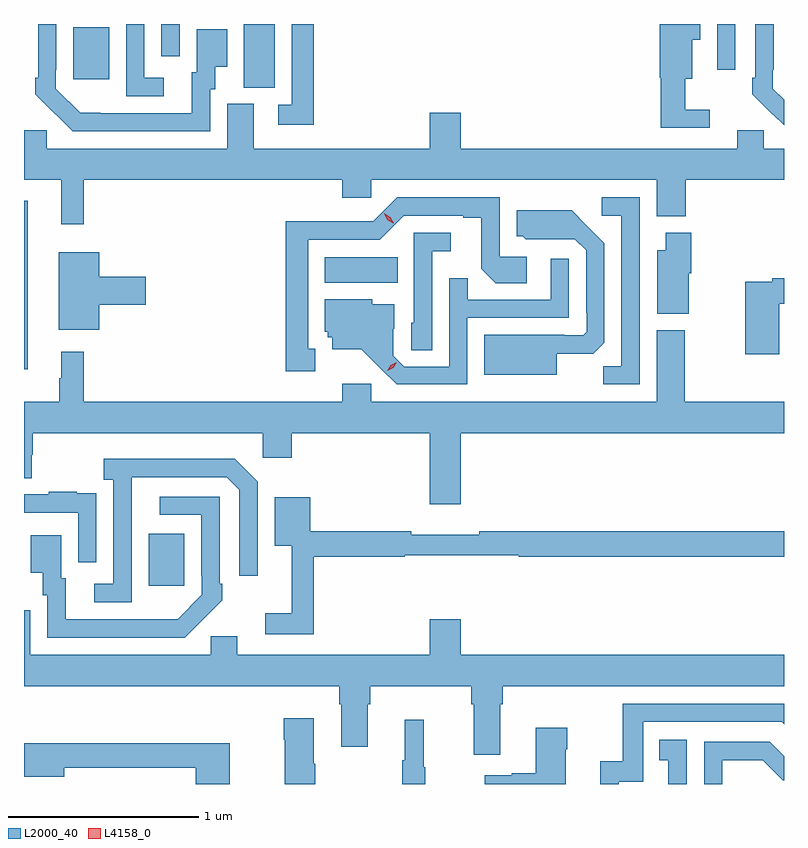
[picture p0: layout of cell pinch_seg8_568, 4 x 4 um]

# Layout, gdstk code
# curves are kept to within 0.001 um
import gdstk
lib = gdstk.Library(unit=1e-6, precision=1e-09)
def R(c, l, rs):  # rectangles x0, y0, x1, y1
    for r in rs: c.add(gdstk.rectangle(r[:2], r[2:], *l))
def P(c, l, *ps):  # polygons
    for p in ps: c.add(gdstk.Polygon(p, *l))
L2000_40 = (2000, 40)
L4158_0 = (4158, 0)

pinch_seg8_568 = lib.new_cell('pinch_seg8_568')
R(pinch_seg8_568, L2000_40, [(175.517,1089.057,175.705,1089.331), (174.861,1090.196,174.88,1091.083), (176.444,1090.652,176.828,1090.786), (176.018,1091.677,176.182,1092.013), (175.121,1091.721,175.309,1091.995), (178.509,1091.772,178.605,1092.013), (175.584,1091.844,175.68,1092.013)])
P(pinch_seg8_568, L2000_40, [(178.471,1091.563),(178.342,1091.563),(178.342,1091.726),(178.378,1091.726),(178.378,1091.93),(178.42,1091.93),(178.42,1092.013),(178.208,1092.013),(178.208,1091.73),(178.213,1091.73),(178.213,1091.466),(178.471,1091.466)],
  [(178.861,1091.615),(178.803,1091.673),(178.803,1091.773),(178.806,1091.773),(178.806,1092.013),(178.71,1092.013),(178.71,1091.731),(178.695,1091.731),(178.695,1091.643),(178.8,1091.538),(178.801,1091.539),(178.861,1091.479)],
  [(175.597,1091.73),(175.494,1091.73),(175.494,1092.013),(175.398,1092.013),(175.398,1091.634),(175.597,1091.634)],
  [(176.387,1092.013),(176.271,1092.013),(176.271,1091.589),(176.199,1091.589),(176.199,1091.484),(176.387,1091.484)],
  [(175.842,1091.67),(175.867,1091.67),(175.867,1091.789),(175.93,1091.789),(175.93,1091.986),(175.769,1091.986),(175.769,1091.76),(175.745,1091.76),(175.745,1091.544),(175.158,1091.545),(175.029,1091.673),(175.029,1091.773),(175.032,1091.773),(175.032,1092.013),(174.936,1092.013),(174.936,1091.731),(174.921,1091.731),(174.921,1091.643),(175.118,1091.448),(175.842,1091.448)],
  [(175.175,1091.192),(176.537,1091.192),(176.537,1091.099),(176.688,1091.099),(176.688,1091.192),(178.19,1091.192),(178.19,1091),(178.343,1091),(178.343,1091.192),(178.861,1091.192),(178.861,1091.356),(178.755,1091.356),(178.755,1091.454),(178.616,1091.454),(178.616,1091.356),(177.16,1091.356),(177.16,1091.545),(176.996,1091.545),(176.996,1091.356),(176.071,1091.356),(176.071,1091.592),(175.931,1091.592),(175.931,1091.356),(174.981,1091.356),(174.981,1091.454),(174.861,1091.454),(174.861,1091.192),(175.058,1091.192),(175.058,1090.959),(175.175,1090.959)],
  [(178.101,1091.1),(177.903,1091.1),(177.903,1091.004),(178.005,1091.004),(178.005,1090.211),(177.91,1090.211),(177.91,1090.116),(178.101,1090.116)],
  [(176.395,1090.305),(176.356,1090.305),(176.356,1090.878),(176.733,1090.878),(176.859,1091.004),(177.173,1091.004),(177.173,1090.992),(177.267,1090.992),(177.267,1090.724),(177.343,1090.648),(177.508,1090.648),(177.508,1090.788),(177.366,1090.788),(177.366,1091.1),(176.826,1091.1),(176.7,1090.974),(176.478,1090.974),(176.478,1090.976),(176.238,1090.976),(176.238,1090.185),(176.395,1090.185)],
  [(177.664,1090.277),(177.856,1090.277),(177.915,1090.336),(177.915,1090.858),(177.743,1091.032),(177.455,1091.032),(177.455,1090.896),(177.486,1090.896),(177.502,1090.88),(177.759,1090.881),(177.819,1090.821),(177.819,1090.492),(177.822,1090.492),(177.822,1090.392),(177.804,1090.374),(177.704,1090.374),(177.704,1090.378),(177.284,1090.378),(177.284,1090.166),(177.664,1090.166)],
  [(178.36,1090.701),(178.373,1090.701),(178.373,1090.915),(178.238,1090.915),(178.238,1090.822),(178.193,1090.822),(178.193,1090.487),(178.36,1090.487)],
  [(177.009,1090.817),(177.106,1090.817),(177.106,1090.914),(176.913,1090.914),(176.913,1090.44),(176.898,1090.44),(176.898,1090.297),(177.009,1090.297)],
  [(175.258,1090.535),(175.501,1090.535),(175.501,1090.682),(175.258,1090.682),(175.258,1090.813),(175.043,1090.813),(175.043,1090.403),(175.258,1090.403)],
  [(177.195,1090.467),(177.729,1090.467),(177.729,1090.777),(177.633,1090.777),(177.633,1090.563),(177.197,1090.563),(177.197,1090.676),(177.099,1090.676),(177.099,1090.209),(176.862,1090.209),(176.805,1090.266),(176.805,1090.408),(176.809,1090.408),(176.809,1090.537),(176.694,1090.537),(176.694,1090.564),(176.444,1090.564),(176.444,1090.392),(176.46,1090.392),(176.46,1090.365),(176.483,1090.365),(176.483,1090.301),(176.635,1090.301),(176.822,1090.116),(177.195,1090.116)],
  [(178.835,1090.54),(178.861,1090.54),(178.861,1090.676),(178.798,1090.676),(178.798,1090.656),(178.657,1090.656),(178.657,1090.275),(178.835,1090.275)],
  [(174.861,1089.622),(174.903,1089.622),(174.903,1089.747),(174.908,1089.747),(174.908,1089.86),(176.118,1089.86),(176.118,1089.729),(176.27,1089.729),(176.27,1089.86),(176.996,1089.86),(176.996,1089.486),(177.16,1089.486),(177.16,1089.86),(178.861,1089.86),(178.861,1090.024),(178.338,1090.024),(178.338,1090.402),(178.19,1090.402),(178.19,1090.024),(176.688,1090.024),(176.688,1090.12),(176.537,1090.12),(176.537,1090.024),(175.175,1090.024),(175.175,1090.288),(175.058,1090.288),(175.058,1090.148),(175.047,1090.148),(175.047,1090.024),(174.861,1090.024)],
  [(175.428,1089.427),(175.429,1089.627),(175.929,1089.627),(175.995,1089.561),(175.995,1089.108),(176.091,1089.108),(176.091,1089.603),(175.97,1089.724),(175.281,1089.724),(175.281,1089.614),(175.332,1089.614),(175.332,1089.066),(175.23,1089.066),(175.23,1088.97),(175.428,1088.97)],
  [(175.242,1089.434),(175.241,1089.434),(175.241,1089.543),(175.139,1089.543),(175.139,1089.55),(174.991,1089.55),(174.991,1089.537),(174.861,1089.537),(174.861,1089.441),(175.146,1089.441),(175.146,1089.18),(175.242,1089.18)],
  [(175.799,1088.875),(175.8,1088.874),(175.905,1088.979),(175.905,1089.067),(175.89,1089.067),(175.89,1089.525),(175.575,1089.525),(175.575,1089.429),(175.794,1089.429),(175.794,1089.109),(175.797,1089.109),(175.797,1089.009),(175.669,1088.881),(175.081,1088.88),(175.081,1089.096),(175.057,1089.096),(175.057,1089.322),(174.896,1089.322),(174.896,1089.125),(174.959,1089.125),(174.959,1089.006),(174.984,1089.006),(174.984,1088.784),(175.708,1088.784)],
  [(176.387,1089.208),(176.864,1089.208),(176.864,1089.216),(177.464,1089.216),(177.464,1089.208),(178.861,1089.208),(178.861,1089.344),(177.256,1089.344),(177.256,1089.325),(176.9,1089.325),(176.9,1089.344),(176.367,1089.344),(176.367,1089.523),(176.18,1089.523),(176.18,1089.266),(176.27,1089.266),(176.27,1088.911),(176.13,1088.911),(176.13,1088.802),(176.387,1088.802)],
  [(177.16,1088.881),(176.996,1088.881),(176.996,1088.692),(175.984,1088.692),(175.984,1088.79),(175.845,1088.79),(175.845,1088.692),(174.895,1088.692),(174.895,1088.928),(174.861,1088.928),(174.861,1088.528),(176.519,1088.528),(176.519,1088.432),(176.531,1088.432),(176.531,1088.208),(176.671,1088.208),(176.671,1088.432),(176.684,1088.432),(176.684,1088.528),(177.215,1088.528),(177.215,1088.432),(177.227,1088.432),(177.227,1088.166),(177.367,1088.166),(177.367,1088.432),(177.38,1088.432),(177.38,1088.528),(178.861,1088.528),(178.861,1088.692),(177.16,1088.692)],
  [(177.99,1088.025),(178.119,1088.025),(178.119,1088.34),(178.848,1088.34),(178.861,1088.327),(178.861,1088.436),(178.011,1088.436),(178.011,1088.134),(177.893,1088.134),(177.893,1088.013),(177.99,1088.013)],
  [(176.394,1088.12),(176.386,1088.12),(176.386,1088.359),(176.228,1088.359),(176.228,1088.246),(176.233,1088.246),(176.233,1088.013),(176.394,1088.013)],
  [(176.974,1088.1),(176.966,1088.1),(176.966,1088.35),(176.864,1088.35),(176.864,1088.137),(176.853,1088.137),(176.853,1088.013),(176.974,1088.013)],
  [(177.712,1088.195),(177.72,1088.195),(177.72,1088.308),(177.554,1088.308),(177.554,1088.069),(177.428,1088.069),(177.428,1088.059),(177.285,1088.059),(177.285,1088.013),(177.712,1088.013)],
  [(178.35,1088.245),(178.204,1088.245),(178.204,1088.139),(178.253,1088.139),(178.253,1088.013),(178.35,1088.013)],
  [(178.536,1088.138),(178.75,1088.138),(178.854,1088.034),(178.861,1088.034),(178.861,1088.16),(178.786,1088.235),(178.44,1088.235),(178.44,1088.013),(178.536,1088.013)],
  [(175.944,1088.227),(174.861,1088.227),(174.861,1088.051),(175.072,1088.051),(175.072,1088.098),(175.766,1088.098),(175.766,1088.013),(175.944,1088.013)])
P(pinch_seg8_568, L4158_0, [(176.774,1090.187),(176.774,1090.188),(176.791,1090.217),(176.822,1090.233),(176.822,1090.233),(176.822,1090.232),(176.805,1090.203),(176.774,1090.187)],
  [(176.805,1090.964),(176.774,1090.983),(176.756,1091.015),(176.756,1091.016),(176.757,1091.016),(176.788,1090.997),(176.806,1090.964),(176.806,1090.964)])

lib.write_gds('pinch_seg8_568.gds')
